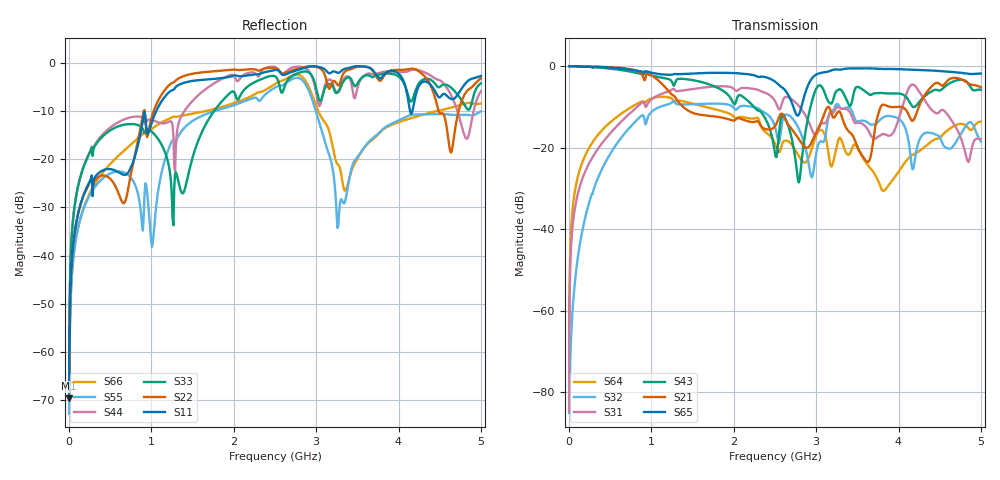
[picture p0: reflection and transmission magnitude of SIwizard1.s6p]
! Touchstone(R) file created by SIwave 2020 R2
! Touchstone(R) file created on Tue Apr 20 08:41:09 2021
! Port[1] = CS_PHASE_A_3_1x3_PIN_PHASE_A
! Port[2] = CS_PHASE_A_3_ACS770LCB-050B-PFF-T_U1
! Port[3] = CS_PHASE_B_3_1x3_PIN_PHASE_B
! Port[4] = CS_PHASE_B_3_ACS770LCB-050B-PFF-T_U3
! Port[5] = CS_PHASE_C_3_1x3_PIN_PHASE_C
! Port[6] = CS_PHASE_C_3_ACS770LCB-050B-PFF-T_U4
! S-parameters
# Hz S MA R 50.000000
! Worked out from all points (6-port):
!   826 points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, 1 Hz to 5 GHz, reference 50 ohm
!   strongest paths, dB at 1 Hz, 19.95 kHz, 875.9 MHz, 2.938 GHz, 5 GHz:
!     S65: 0.0, 0.0, -1.3, -3.3, -1.8
!     S21: 0.0, 0.0, -1.8, -18.9, -5.1
!     S43: 0.0, 0.0, -1.9, -9.4, -5.8
!     S31: -84.8, -83.7, -9.1, -15.0, -17.9
!     S32: -84.8, -83.9, -12.2, -27.0, -18.5
!     S64: -78.7, -78.7, -8.7, -20.8, -13.6
!   lowest |S11| = -69.6 dB at 1 Hz (marker M1), VSWR 1.00, Z = 50 + j2.82e-05 ohm
!   |S11| at or under -10 dB: start of sweep to 1.059 GHz; 4.14 GHz to 4.169 GHz (29.56 MHz wide, 0.712 % of centre)
